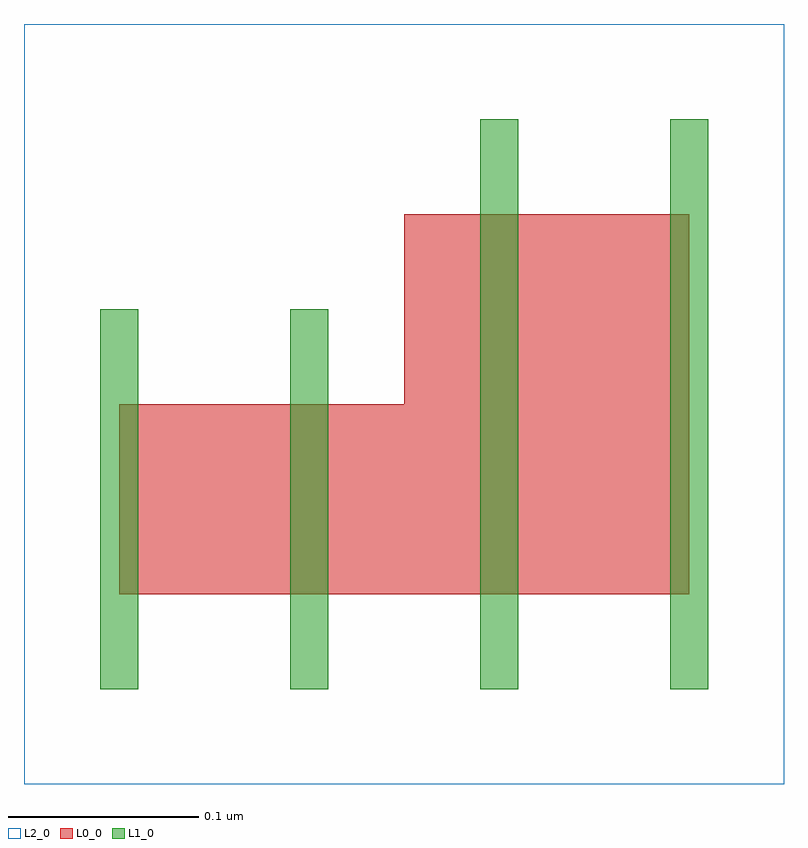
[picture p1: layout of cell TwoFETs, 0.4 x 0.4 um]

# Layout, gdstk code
import gdstk
lib = gdstk.Library(unit=1e-6, precision=1e-09)
def R(c, l, rs):  # rectangles x0, y0, x1, y1
    for r in rs: c.add(gdstk.rectangle(r[:2], r[2:], *l))
L0_0 = (0, 0)
L1_0 = (1, 0)
L2_0 = (2, 0)

twofets = lib.new_cell('TwoFETs')
R(twofets, L0_0, [(0,0,0.15,0.1), (0.15,0,0.3,0.2)])
R(twofets, L1_0, [(-0.01,-0.05,0.01,0.15), (0.09,-0.05,0.11,0.15), (0.19,-0.05,0.21,0.25), (0.29,-0.05,0.31,0.25)])
R(twofets, L2_0, [(-0.05,-0.1,0.35,0.3)])

lib.write_gds('TwoFETs.gds')
